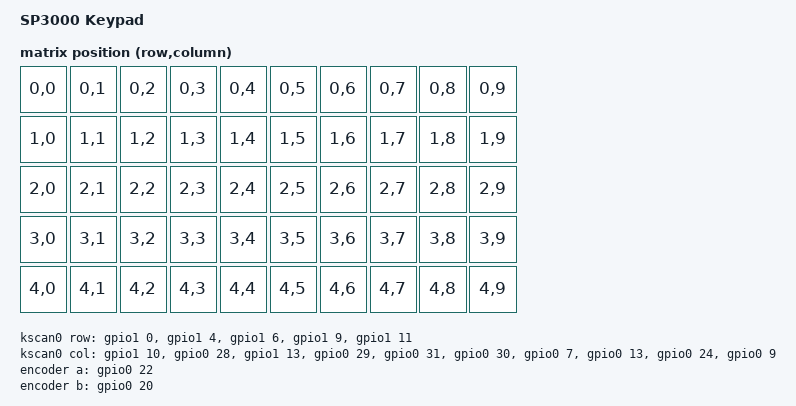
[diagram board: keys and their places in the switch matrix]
/*
 * SP3000 Scanner Keypad — Board Devicetree (Zephyr 4.1 / HWMv2)
 *
 * MCU: E73-2G4M08S1C (nRF52840)
 * Matrix: 5 rows × 10 columns, row2col diodes
 * Encoder: EC11 rotary with push switch
 * LEDs: 43× SK6812Mini-E (via 74AHCT1G125 level shifter)
 * Battery: BQ24075 charger + MAX17048 fuel gauge + TPS63020 PSU
 * Crystal: 32.768 KHz on XL1/XL2 (P0.00/P0.01)
 *
 * Designed by Ceynetics (CS2025A Rev.A)
 * GPIO mapping extracted from KEYPAD.kicad_sch + KEY_MATRIX.kicad_sch
 */

/dts-v1/;
#include <nordic/nrf52840_qiaa.dtsi>
#include <dt-bindings/zmk/matrix_transform.h>
#include <dt-bindings/led/led.h>

/ {
    model = "SP3000 Keypad";
    compatible = "ceynetics,sp3000-keypad";

chosen {
    zephyr,code-partition = &code_partition;
    zephyr,sram = &sram0;
    zephyr,flash = &flash0;
    zephyr,console = &cdc_acm_uart;
    zephyr,bootloader-info = &boot_info0;
    zmk,kscan = &kscan0;
    zmk,matrix-transform = &default_transform;
    zmk,underglow = &led_strip;
    zmk,battery = &fuelgauge;
    zmk,ext-power = &ext_power;
    };

    default_transform: keymap_transform_0 {
        compatible = "zmk,matrix-transform";
        columns = <10>;
        rows = <5>;

        /*
         * Full 5×10 grid — 43 switches + encoder push.
         * Empty positions get &none in keymap.
         * Verified wiring from KiCad KEY_MATRIX.kicad_sch.
         */
        map = <
            RC(0,0) RC(0,1) RC(0,2) RC(0,3) RC(0,4) RC(0,5) RC(0,6) RC(0,7) RC(0,8) RC(0,9)
            RC(1,0) RC(1,1) RC(1,2) RC(1,3) RC(1,4) RC(1,5) RC(1,6) RC(1,7) RC(1,8) RC(1,9)
            RC(2,0) RC(2,1) RC(2,2) RC(2,3) RC(2,4) RC(2,5) RC(2,6) RC(2,7) RC(2,8) RC(2,9)
            RC(3,0) RC(3,1) RC(3,2) RC(3,3) RC(3,4) RC(3,5) RC(3,6) RC(3,7) RC(3,8) RC(3,9)
            RC(4,0) RC(4,1) RC(4,2) RC(4,3) RC(4,4) RC(4,5) RC(4,6) RC(4,7) RC(4,8) RC(4,9)
        >;
    };

    /*
     * Key Scan Matrix — GPIO Pin Mapping
     * ════════════════════════════════════
     * Extracted from KiCad by matching global label coordinates
     * to E73-2G4M08S1C pin positions (U1 at 199.39, 132.08).
     *
     * Rows (outputs, all on gpio1):
     *   ROW0=P1.00  ROW1=P1.04  ROW2=P1.06  ROW3=P1.09  ROW4=P1.11
     *
     * Columns (inputs with pull-down, mixed gpio0/gpio1):
     *   COL0=P1.10  COL1=P0.28  COL2=P1.13  COL3=P0.29  COL4=P0.31
     *   COL5=P0.30  COL6=P0.07  COL7=P0.13  COL8=P0.24  COL9=P0.09
     *
     * NOTE: COL9 (P0.09) is an NFC pin — see &uicr below.
     * NOTE: COL6 (P0.07) is a low-frequency pin — fine for matrix
     *       scanning (<10 kHz) but would be bad for high-speed I/O.
     *
     * Diode direction: row2col
     *   (D_Small at 270°, anode→row, cathode→switch/col)
     */
    kscan0: kscan_0 {
        compatible = "zmk,kscan-gpio-matrix";
        wakeup-source;
        diode-direction = "col2row";

row-gpios
            = <&gpio1  0 (GPIO_ACTIVE_HIGH | GPIO_PULL_DOWN)>
            , <&gpio1  4 (GPIO_ACTIVE_HIGH | GPIO_PULL_DOWN)>
            , <&gpio1  6 (GPIO_ACTIVE_HIGH | GPIO_PULL_DOWN)>
            , <&gpio1  9 (GPIO_ACTIVE_HIGH | GPIO_PULL_DOWN)>
            , <&gpio1 11 (GPIO_ACTIVE_HIGH | GPIO_PULL_DOWN)>
            ;

        col-gpios
            = <&gpio1 10 GPIO_ACTIVE_HIGH>
            , <&gpio0 28 GPIO_ACTIVE_HIGH>
            , <&gpio1 13 GPIO_ACTIVE_HIGH>
            , <&gpio0 29 GPIO_ACTIVE_HIGH>
            , <&gpio0 31 GPIO_ACTIVE_HIGH>
            , <&gpio0 30 GPIO_ACTIVE_HIGH>
            , <&gpio0  7 GPIO_ACTIVE_HIGH>
            , <&gpio0 13 GPIO_ACTIVE_HIGH>
            , <&gpio0 24 GPIO_ACTIVE_HIGH>
            , <&gpio0  9 GPIO_ACTIVE_HIGH>
            ;
    };

 /*
     * External power control — required by ZMK RGB underglow.
     * This PCB has no hardware power-cut MOSFET for the LEDs
     * (U3 level shifter OE is hardwired to GND = always enabled).
     * Using P1.07 as a dummy control pin — verify this pin is
     * not routed to anything on your PCB. If it is, pick a
     * different unconnected GPIO.
     */
ext_power {
    compatible = "zmk,ext-power-generic";
    control-gpios = <&gpio0 4 GPIO_ACTIVE_LOW>;
};

    /* Rotary Encoder — EC11E09244BS (80 detents, 20 triggers/rotation) */
    sensors: sensors {
        compatible = "zmk,keymap-sensors";
        sensors = <&encoder>;
        triggers-per-rotation = <20>;
    };

    encoder: encoder_0 {
        compatible = "alps,ec11";
        a-gpios = <&gpio0 22 (GPIO_ACTIVE_HIGH | GPIO_PULL_UP)>;  /* ENC_A — P0.22 */
        b-gpios = <&gpio0 20 (GPIO_ACTIVE_HIGH | GPIO_PULL_UP)>;  /* ENC_B — P0.20 */
        steps = <80>;
        status = "okay";
    };

    /*
     * Boot retention — required for &bootloader behavior in Zephyr 4.1+
     * Uses 256 bytes at end of SRAM for retained data across resets.
     */
    sram@2003FF00 {
        compatible = "zephyr,memory-region", "mmio-sram";
        reg = <0x2003FF00 256>;
        zephyr,memory-region = "RetainedMem";
        status = "okay";

        retainedmem {
            compatible = "zephyr,retained-ram";
            status = "okay";
            #address-cells = <1>;
            #size-cells = <1>;

            boot_info0: boot_info@0 {
                compatible = "zephyr,retention";
                status = "okay";
                reg = <0x0 0x100>;
            };
        };
    };
};

/* Reduce SRAM0 by 256 bytes for boot retention area */
&sram0 {
    reg = <0x20000000 0x3FF00>;
};

/* ── NFC pins as GPIO (P0.09 used as COL9) ───────────── */
&uicr {
    nfct-pins-as-gpios;
};

/* ── GPIO ports (disabled by default in nRF52840 dtsi) ── */
&gpio0 {
    status = "okay";
};

&gpio1 {
    status = "okay";
};

/* ── GPIOTE — Required for GPIO event generation ──────── */
&gpiote {
    status = "okay";
};

/* ── DC/DC converter ─────────────────────────────────── */
/*
 * E73 module does NOT include DCCH inductor — reg0 (HV stage) N/A.
 * If your PCB has an inductor on the DCC pin, uncomment reg1 below
 * for improved power efficiency (~3.3V from battery via internal DC/DC).
 *
 * Verify with your schematic whether DCC has an inductor connected.
 */
/* &reg1 { regulator-initial-mode = <NRF5X_REG_MODE_DCDC>; }; */

/* ── USB ─────────────────────────────────────────────── */
&usbd {
    status = "okay";
    cdc_acm_uart: cdc_acm_uart {
        compatible = "zephyr,cdc-acm-uart";
    };
};

/* ── I2C0 — MAX17048 fuel gauge (0x36) ───────────────── */
&i2c0 {
    compatible = "nordic,nrf-twi";
    status = "okay";
    pinctrl-0 = <&i2c0_default>;
    pinctrl-1 = <&i2c0_sleep>;
    pinctrl-names = "default", "sleep";

    fuelgauge: max17048@36 {
        /*
         * ZMK uses its own sensor-based driver, not Zephyr's upstream
         * fuel gauge API driver. The compatible was namespaced since
         * ZMK's Zephyr 3.5 update.
         * If ZMK merges upstream support, change to "maxim,max17048".
         */
        compatible = "zmk,maxim-max17048";
        reg = <0x36>;
        status = "okay";
    };
};

/* ── SPI3 — SK6812Mini-E LED strip (43 LEDs) ─────────── */
/*
 * LED data: P1.02 (MOSI) → 74AHCT1G125 level shifter → 5V LED chain.
 *
 * WARNING: P1.02 is a low-frequency pin. The SPI peripheral drives it
 * at 4 MHz which exceeds the 10 kHz recommendation for BLE reliability.
 * This is a PCB design constraint — cannot be changed in firmware.
 * If you experience BLE dropouts while LEDs are active, reduce
 * SPI frequency or disable RGB underglow.
 *
 * SCK and MISO are required by the SPI peripheral but unused for
 * WS2812. Assigned to P0.05 and P0.26 (verify these are unrouted
 * on your PCB — if they connect to anything, pick different free pins).
 */
&spi3 {
    compatible = "nordic,nrf-spim";
    status = "okay";
    pinctrl-0 = <&spi3_default>;
    pinctrl-1 = <&spi3_sleep>;
    pinctrl-names = "default", "sleep";

    led_strip: ws2812@0 {
        compatible = "worldsemi,ws2812-spi";
        reg = <0>;
        spi-max-frequency = <4000000>;
        chain-length = <43>;
        spi-one-frame = <0x70>;
        spi-zero-frame = <0x40>;
        color-mapping = <LED_COLOR_ID_GREEN LED_COLOR_ID_RED LED_COLOR_ID_BLUE>;
    };
};

/* ── Pin Control ─────────────────────────────────────── */
&pinctrl {
    i2c0_default: i2c0_default {
        group1 {
            psels = <NRF_PSEL(TWIM_SDA, 0, 2)>,    /* SDA — P0.02 */
                    <NRF_PSEL(TWIM_SCL, 0, 3)>;     /* SCL — P0.03 */
        };
    };

    i2c0_sleep: i2c0_sleep {
        group1 {
            psels = <NRF_PSEL(TWIM_SDA, 0, 2)>,    /* SDA — P0.02 */
                    <NRF_PSEL(TWIM_SCL, 0, 3)>;     /* SCL — P0.03 */
            low-power-enable;
        };
    };

    spi3_default: spi3_default {
        group1 {
            psels = <NRF_PSEL(SPIM_MOSI, 1, 2)>,    /* LED_DATA — P1.02 */
                    <NRF_PSEL(SPIM_SCK,  0, 5)>,     /* Unused — P0.05 (verify unrouted) */
                    <NRF_PSEL(SPIM_MISO, 0, 26)>;    /* Unused — P0.26 (verify unrouted) */
        };
    };

    spi3_sleep: spi3_sleep {
        group1 {
            psels = <NRF_PSEL(SPIM_MOSI, 1, 2)>,    /* LED_DATA — P1.02 */
                    <NRF_PSEL(SPIM_SCK,  0, 5)>,     /* Unused — P0.05 (verify unrouted) */
                    <NRF_PSEL(SPIM_MISO, 0, 26)>;    /* Unused — P0.26 (verify unrouted) */
            low-power-enable;
        };
    };
};

/* ── Flash partitions (Adafruit nRF52 Bootloader layout) ── */
/*
 * Standard partition layout for E73 with Adafruit bootloader.
 * Bootloader occupies first 0x26000 (152KB) and last 0xC000 (48KB).
 * If using bare metal J-Link (no bootloader), code_partition can
 * start at 0x0 and expand to fill the whole 1MB flash.
 */
&flash0 {
    partitions {
        compatible = "fixed-partitions";
        #address-cells = <1>;
        #size-cells = <1>;

        /* Reserved for SoftDevice / MBR / Adafruit bootloader stage 1 */
        sd_partition: partition@0 {
            reg = <0x00000000 0x00026000>;
        };

        /* Application code — 792 KB */
        code_partition: partition@26000 {
            reg = <0x00026000 0x000c6000>;
        };

        /* NVS settings storage — 32 KB */
        storage_partition: partition@ec000 {
            reg = <0x000ec000 0x00008000>;
        };

        /* Adafruit bootloader stage 2 — 48 KB */
        boot_partition: partition@f4000 {
            reg = <0x000f4000 0x0000c000>;
        };
    };
};
